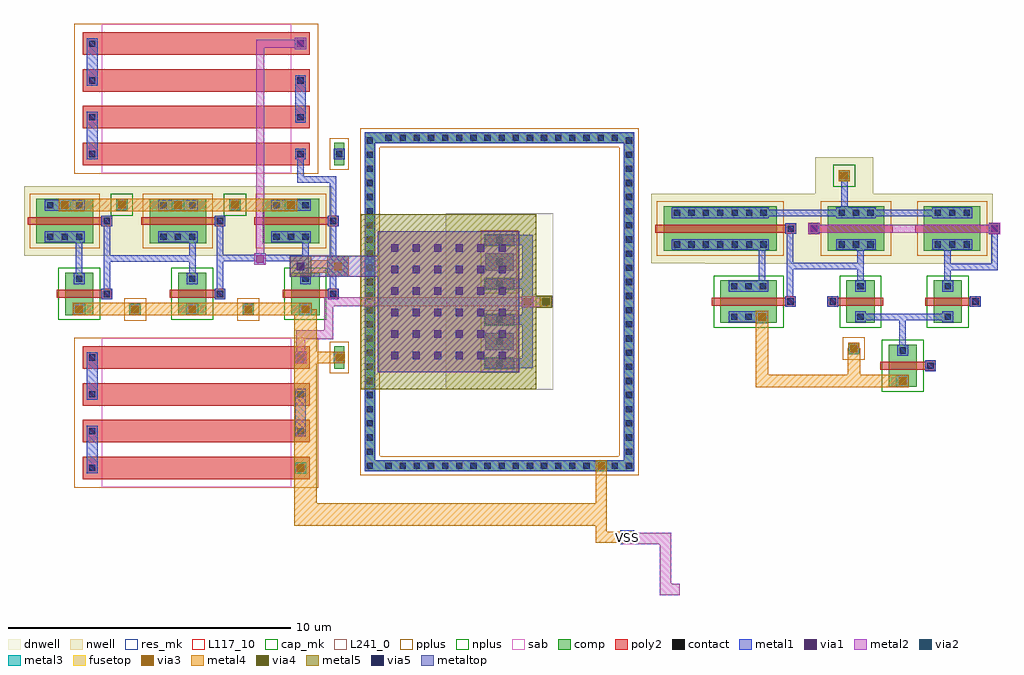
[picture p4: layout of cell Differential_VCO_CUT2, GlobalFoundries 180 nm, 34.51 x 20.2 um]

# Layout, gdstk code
from math import pi, radians
import gdstk
lib = gdstk.Library(unit=1e-6, precision=1e-09)
def R(c, l, rs):  # rectangles x0, y0, x1, y1
    for r in rs: c.add(gdstk.rectangle(r[:2], r[2:], *l))
def A(c, l, x, y, w, h, nx, ny, dx, dy):  # array of equal rectangles
    R(c, l, [(x+i*dx, y+j*dy, x+i*dx+w, y+j*dy+h) for i in range(nx) for j in range(ny)])
def P(c, l, *ps):  # polygons
    for p in ps: c.add(gdstk.Polygon(p, *l))
dnwell = (12, 0)
nwell = (21, 0)
comp = (22, 0)
poly2 = (30, 0)
pplus = (31, 0)
nplus = (32, 0)
contact = (33, 0)
metal1 = (34, 0)
via1 = (35, 0)
metal2 = (36, 0)
via2 = (38, 0)
via3 = (40, 0)
via4 = (41, 0)
metal3 = (42, 0)
metal4 = (46, 0)
sab = (49, 0)
metaltop = (53, 0)
fusetop = (75, 0)
metal5 = (81, 0)
via5 = (82, 0)
res_mk = (110, 5)
cap_mk = (117, 5)
L117_10 = (117, 10)
L241_0 = (241, 0)

schottky_pair_shared_dnw = lib.new_cell('Schottky_Pair_Shared_DNW')
R(schottky_pair_shared_dnw, dnwell, [(-0.76,-1.4,5.48,2.4)])
R(schottky_pair_shared_dnw, comp, [(0,0,0.36,1), (0.64,0,1.26,1), (1.54,0,1.9,1), (2.82,0,3.18,1), (3.46,0,4.08,1), (4.36,0,4.72,1)])
P(schottky_pair_shared_dnw, comp, [(-3.62,-4.26),(-3.62,4.9),(-3.26,4.9),(-3.26,-3.9),(7.98,-3.9),(7.98,4.9),(-3.62,4.9),(-3.62,5.26),(8.34,5.26),(8.34,-4.26)])
P(schottky_pair_shared_dnw, pplus, [(-3.78,-4.42),(-3.78,4.74),(-3.1,4.74),(-3.1,-3.74),(7.82,-3.74),(7.82,4.74),(-3.78,4.74),(-3.78,5.42),(8.5,5.42),(8.5,-4.42)])
R(schottky_pair_shared_dnw, nplus, [(-0.03,-0.03,0.39,1.03), (1.51,-0.03,1.93,1.03), (2.79,-0.03,3.21,1.03), (4.33,-0.03,4.75,1.03)])
A(schottky_pair_shared_dnw, contact, -3.55, -4.19, 0.22, 0.22, 24, 2, 0.5, 9.16)
A(schottky_pair_shared_dnw, contact, -3.55, -3.69, 0.22, 0.22, 1, 17, 0, 0.5)
A(schottky_pair_shared_dnw, contact, 8.05, -3.69, 0.22, 0.22, 1, 17, 0, 0.5)
A(schottky_pair_shared_dnw, contact, 0.07, 0.39, 0.22, 0.22, 3, 1, 0.77, 0)
A(schottky_pair_shared_dnw, contact, 2.89, 0.39, 0.22, 0.22, 3, 1, 0.77, 0)
R(schottky_pair_shared_dnw, metal1, [(0,-0.67,0.36,1), (0,-0.67,4.72,-0.31), (1.54,-0.67,1.9,1), (2.82,-0.67,3.18,1), (4.36,-0.67,4.72,1), (0.64,0,1.26,1), (3.46,0,4.08,1)])
P(schottky_pair_shared_dnw, metal1, [(-3.63,-4.27),(-3.63,4.89),(-3.25,4.89),(-3.25,-3.89),(7.97,-3.89),(7.97,4.89),(-3.63,4.89),(-3.63,5.27),(8.35,5.27),(8.35,-4.27)])
R(schottky_pair_shared_dnw, L241_0, [(-0.16,-0.16,2.06,1.16), (2.66,-0.16,4.88,1.16)])

pfet_1 = lib.new_cell('pfet$1')
R(pfet_1, nwell, [(-0.9,-0.44,1.56,2.44)])
R(pfet_1, comp, [(-0.46,0,0,2), (0,0,0.66,2), (0.66,0,1.12,2)])
R(pfet_1, poly2, [(0.19,-0.3,0.47,2.3), (0.14,2.3,0.52,2.68)])
R(pfet_1, pplus, [(-0.63,-0.24,1.29,2.24)])
A(pfet_1, contact, -0.34, 0.38, 0.22, 0.22, 1, 3, 0, 0.51)
A(pfet_1, contact, 0.78, 0.38, 0.22, 0.22, 1, 3, 0, 0.51)
R(pfet_1, contact, [(0.22,2.38,0.44,2.6)])
R(pfet_1, metal1, [(-0.42,0.3,-0.04,1.7), (0.7,0.3,1.08,1.7), (0.14,2.299,0.52,2.681)])

nfet_2 = lib.new_cell('nfet$2')
R(nfet_2, comp, [(-0.42,0,0,1), (0,0,0.66,1), (0.66,0,1.08,1)])
R(nfet_2, poly2, [(0.19,-0.3,0.47,1.3), (0.15,1.3,0.51,1.66)])
R(nfet_2, nplus, [(-0.59,-0.24,1.25,1.24)])
R(nfet_2, contact, [(-0.32,0.39,-0.1,0.61), (0.76,0.39,0.98,0.61), (0.22,1.37,0.44,1.59)])
R(nfet_2, metal1, [(-0.4,0.309,-0.02,0.691), (0.68,0.309,1.06,0.691), (0.14,1.289,0.52,1.671)])

inverter_buffer = lib.new_cell('Inverter_Buffer')
inverter_buffer.add(gdstk.FlexPath([(-1.48,-1),(-1.48,1.58)], 0.23, ends="flush", simple_path=True, layer=34, datatype=0))  # metal1
inverter_buffer.add(gdstk.FlexPath([(-0.5,-0.46),(-0.5,1.02)], 0.23, ends="flush", simple_path=True, layer=34, datatype=0))  # metal1
inverter_buffer.add(gdstk.Reference(pfet_1, (1.01,1.25), rotation=pi/2))
inverter_buffer.add(gdstk.Reference(nfet_2, (0,-1.33), rotation=pi/2))

cap_mim = lib.new_cell('cap_mim')
R(cap_mim, metaltop, [(0,0,5,5)])
R(cap_mim, fusetop, [(0,0,5,5)])
R(cap_mim, metal5, [(-0.6,-0.6,5.6,5.6)])
A(cap_mim, via5, 0.47, 0.47, 0.26, 0.26, 6, 6, 0.76, 0.76)
R(cap_mim, cap_mk, [(-0.6,-0.6,5.6,5.6)])
R(cap_mim, L117_10, [(0,0,5,0.1)])

mim_cap = lib.new_cell('MIM_Cap')
mim_cap.add(gdstk.Reference(cap_mim, (-2.48,-2.55)))

via_dev_10 = lib.new_cell('via_dev$10')
R(via_dev_10, metal1, [(0,0,0.44,0.44)])
R(via_dev_10, via1, [(0.09,0.09,0.35,0.35)])
R(via_dev_10, metal2, [(0,0,0.44,0.44)])
R(via_dev_10, via2, [(0.09,0.09,0.35,0.35)])
R(via_dev_10, via3, [(0.09,0.09,0.35,0.35)])
R(via_dev_10, metal3, [(0,0,0.44,0.44)])
R(via_dev_10, metal4, [(0,0,0.44,0.44)])

via_dev_8 = lib.new_cell('via_dev$8')
R(via_dev_8, comp, [(0,0,0.4,0.4)])
R(via_dev_8, contact, [(0.09,0.09,0.31,0.31)])
R(via_dev_8, metal1, [(0,0,0.4,0.4)])
R(via_dev_8, via1, [(0.07,0.07,0.33,0.33)])
R(via_dev_8, metal2, [(0,0,0.4,0.4)])
R(via_dev_8, via2, [(0.07,0.07,0.33,0.33)])
R(via_dev_8, via3, [(0.07,0.07,0.33,0.33)])
R(via_dev_8, metal3, [(0,0,0.4,0.4)])
R(via_dev_8, metal4, [(0,0,0.4,0.4)])

n_well_body_tap = lib.new_cell('N_Well_Body_Tap')
R(n_well_body_tap, nplus, [(-0.39,-0.39,0.39,0.39)])
n_well_body_tap.add(gdstk.Reference(via_dev_8, (-0.2,0.2), x_reflection=True))

p_substrate_body_tap = lib.new_cell('P_Substrate_Body_Tap')
R(p_substrate_body_tap, pplus, [(-0.39,-0.39,0.39,0.39)])
p_substrate_body_tap.add(gdstk.Reference(via_dev_8, (-0.2,0.2), x_reflection=True))

nfet_4 = lib.new_cell('nfet$4')
R(nfet_4, comp, [(-0.42,0,0,2), (0,0,0.66,2), (0.66,0,1.08,2)])
R(nfet_4, poly2, [(0.19,-0.3,0.47,2.3), (0.15,2.3,0.51,2.66)])
R(nfet_4, nplus, [(-0.59,-0.24,1.25,2.24)])
A(nfet_4, contact, -0.32, 0.38, 0.22, 0.22, 1, 3, 0, 0.51)
A(nfet_4, contact, 0.76, 0.38, 0.22, 0.22, 1, 3, 0, 0.51)
R(nfet_4, contact, [(0.22,2.37,0.44,2.59)])
R(nfet_4, metal1, [(-0.4,0.3,-0.02,1.7), (0.68,0.3,1.06,1.7), (0.14,2.289,0.52,2.671)])

pfet_2 = lib.new_cell('pfet$2')
R(pfet_2, nwell, [(-0.9,-0.44,1.56,4.44)])
R(pfet_2, comp, [(-0.46,0,0,4), (0,0,0.66,4), (0.66,0,1.12,4)])
R(pfet_2, poly2, [(0.19,-0.3,0.47,4.3), (0.14,4.3,0.52,4.68)])
R(pfet_2, pplus, [(-0.63,-0.24,1.29,4.24)])
A(pfet_2, contact, -0.34, 0.36, 0.22, 0.22, 1, 7, 0, 0.51)
A(pfet_2, contact, 0.78, 0.36, 0.22, 0.22, 1, 7, 0, 0.51)
R(pfet_2, contact, [(0.22,4.38,0.44,4.6)])
R(pfet_2, metal1, [(-0.42,0.28,-0.04,3.72), (0.7,0.28,1.08,3.72), (0.14,4.299,0.52,4.681)])

differential_buffer = lib.new_cell('Differential_Buffer')
R(differential_buffer, via1, [(3.06,3,3.32,3.26), (-3.32,3.005,-3.06,3.265)])
R(differential_buffer, metal2, [(-3.39,2.93,-2.99,3.33), (2.99,2.93,3.39,3.33)])
differential_buffer.add(gdstk.FlexPath([(1.54,1.81),(4.155,1.81)], 0.23, ends="flush", simple_path=True, layer=34, datatype=0))  # metal1
differential_buffer.add(gdstk.FlexPath([(5.02,1.09),(5.02,2.57)], 0.23, ends="flush", simple_path=True, layer=34, datatype=0))  # metal1
differential_buffer.add(gdstk.FlexPath([(-1.54,1.09),(-1.54,2.57)], 0.23, ends="flush", simple_path=True, layer=34, datatype=0))  # metal1
differential_buffer.add(gdstk.FlexPath([(1.54,1.09),(1.54,2.57)], 0.23, ends="flush", simple_path=True, layer=34, datatype=0))  # metal1
differential_buffer.add(gdstk.FlexPath([(0.05,-1.18),(0.05,0.01),(-1.54,0.01),(-1.54,0.01)], 0.23, ends="flush", simple_path=True, layer=34, datatype=0))  # metal1
differential_buffer.add(gdstk.FlexPath([(0.05,0.01),(1.54,0.01)], 0.23, ends="flush", simple_path=True, layer=34, datatype=0))  # metal1
differential_buffer.add(gdstk.FlexPath([(-1.7,3.69),(1.7,3.69)], 0.23, ends="flush", simple_path=True, layer=34, datatype=0))  # metal1
differential_buffer.add(gdstk.FlexPath([(-3.19,3.13),(-3.19,1.78),(-1.54,1.78)], 0.23, ends="flush", simple_path=True, layer=34, datatype=0))  # metal1
differential_buffer.add(gdstk.FlexPath([(4.04,0.55),(4.04,3.13)], 0.23, ends="flush", simple_path=True, layer=34, datatype=0))  # metal1
differential_buffer.add(gdstk.FlexPath([(3.14,3.13),(-3.19,3.13)], 0.28, ends="flush", simple_path=True, layer=36, datatype=0))  # metal2
differential_buffer.add(gdstk.Reference(pfet_1, (-0.7,2.8), rotation=pi/2))
differential_buffer.add(gdstk.Reference(pfet_1, (0.7,2.8), rotation=pi/2, x_reflection=True))
differential_buffer.add(gdstk.Reference(nfet_2, (-1.04,0.22), rotation=pi/2))
differential_buffer.add(gdstk.Reference(nfet_2, (1.04,0.22), rotation=pi/2, x_reflection=True))
differential_buffer.add(gdstk.Reference(nfet_2, (0.55,-2.05), rotation=pi/2))
differential_buffer.add(gdstk.Reference(nfet_4, (6.5,0.22), rotation=pi/2))
differential_buffer.add(gdstk.Reference(pfet_2, (8.5,2.8), rotation=pi/2))

ppoly_folded_4_leg = lib.new_cell('PPOLY_FOLDED_4_LEG')
R(ppoly_folded_4_leg, comp, [(-1.88,-0.4,-1.52,0.4)])
A(ppoly_folded_4_leg, poly2, -0.66, -0.4, 8.025, 0.8, 1, 4, 0, 1.3)
R(ppoly_folded_4_leg, pplus, [(-0.96,-0.7,7.665,4.6), (-2.04,-0.56,-1.36,0.56)])
A(ppoly_folded_4_leg, contact, -0.44, -0.11, 0.22, 0.22, 1, 4, 0, 1.3)
A(ppoly_folded_4_leg, contact, 6.925, -0.11, 0.22, 0.22, 1, 4, 0, 1.3)
R(ppoly_folded_4_leg, contact, [(-1.81,-0.11,-1.59,0.11)])
A(ppoly_folded_4_leg, metal1, -0.52, -0.19, 0.38, 0.38, 1, 4, 0, 1.3)
A(ppoly_folded_4_leg, metal1, 6.845, -0.19, 0.38, 0.38, 1, 4, 0, 1.3)
R(ppoly_folded_4_leg, metal1, [(-1.89,-0.19,-1.51,0.19), (6.845,-0.18,7.225,1.48), (-0.52,1.12,-0.14,2.78), (6.845,2.42,7.225,4.08)])
R(ppoly_folded_4_leg, sab, [(0,-0.68,6.705,4.58)])
A(ppoly_folded_4_leg, res_mk, 0, -0.4, 6.705, 0.8, 1, 4, 0, 1.3)
ppoly_folded_4_leg.add(gdstk.Label('P', (-0.33,0), layer=34, texttype=10))
ppoly_folded_4_leg.add(gdstk.Label('N', (-0.33,3.9), layer=34, texttype=10))
ppoly_folded_4_leg.add(gdstk.Label('B', (-1.7,0), layer=34, texttype=10))

via_dev_3 = lib.new_cell('via_dev$3')
R(via_dev_3, metal1, [(0,0,0.4,0.4)])
R(via_dev_3, via1, [(0.07,0.07,0.33,0.33)])
R(via_dev_3, metal2, [(0,0,0.4,0.4)])

differential_vco_cut2 = lib.new_cell('Differential_VCO_CUT2')
R(differential_vco_cut2, nwell, [(-25.04,5.6,-18.56,8.06)])
P(differential_vco_cut2, nwell, [(-2.7,5.325),(-2.7,7.79),(1.2,7.79),(1.2,9.08),(3.25,9.08),(3.25,7.79),(7.415,7.79),(7.415,5.325)])
R(differential_vco_cut2, metal1, [(-5.7,-4.6,-5.2,-4.1), (-17.2,-2.1,-16.8,-1.7), (-6.57,-2.025,-6.17,-1.625), (-17.2,1.8,-16.8,2.2), (-15.83,1.8,-15.43,2.2), (-9.18,3.775,-8.78,4.175), (-16.05,4.85,-15.3,5.6), (-23.85,5.395,-20.83,5.625), (-19.965,5.405,-16.83,5.635)])
P(differential_vco_cut2, metal1, [(-1.26,7.005),(-1.26,7.235),(2.125,7.235),(2.125,8.43),(2.355,8.43),(2.355,7.235),(2.53,7.235),(2.53,7.005)],
  [(-15.965,6.83),(-15.965,8.175),(-17.115,8.175),(-17.115,9.2),(-16.885,9.2),(-16.885,8.405),(-15.735,8.405),(-15.735,6.83)])
R(differential_vco_cut2, via1, [(-5.58,-4.48,-5.32,-4.22), (-17.13,-2.03,-16.87,-1.77), (-6.5,-1.955,-6.24,-1.695), (-17.13,1.87,-16.87,2.13), (-15.76,1.87,-15.5,2.13), (-9.11,3.845,-8.85,4.105), (-15.805,5.095,-15.545,5.355)])
R(differential_vco_cut2, metal2, [(-17.2,-2.1,-16.8,-1.7), (-6.57,-2.025,-6.17,-1.625), (-15.83,1.8,-15.43,2.2), (-16.05,4.85,-15.3,5.6)])
P(differential_vco_cut2, metal2, [(-4.3,-6.4),(-4.3,-4.6),(-5.6,-4.6),(-5.6,-4.55),(-5.65,-4.55),(-5.65,-4.15),(-5.25,-4.15),(-5.25,-4.2),(-3.9,-4.2),(-3.9,-6),(-3.6,-6),(-3.6,-6.4)],
  [(-17.2,1.8),(-17.2,2.2),(-17.16,2.2),(-17.16,2.96),(-16.16,2.96),(-16.16,4.135),(-9.18,4.135),(-9.18,4.175),(-8.54,4.175),(-8.54,4.195),(-8.1,4.195),(-8.1,3.755),(-8.54,3.755),(-8.54,3.775),(-9.18,3.775),(-9.18,3.815),(-15.84,3.815),(-15.84,2.64),(-16.84,2.64),(-16.84,2.2),(-16.8,2.2),(-16.8,1.8)],
  [(-18.57,5.46),(-18.57,13.24),(-17,13.24),(-17,12.96),(-18.29,12.96),(-18.29,5.46)])
R(differential_vco_cut2, via2, [(-5.58,-4.48,-5.32,-4.22), (-17.13,-2.03,-16.87,-1.77), (-6.5,-1.955,-6.24,-1.695), (-15.76,1.87,-15.5,2.13), (-8.45,3.845,-8.19,4.105), (-15.805,5.095,-15.545,5.355)])
R(differential_vco_cut2, via3, [(-5.58,-4.48,-5.32,-4.22), (-17.13,-2.03,-16.87,-1.77), (-6.5,-1.955,-6.24,-1.695), (-15.76,1.87,-15.5,2.13), (-8.45,3.845,-8.19,4.105), (-15.805,5.095,-15.545,5.355)])
R(differential_vco_cut2, via4, [(-8.45,3.845,-8.19,4.105), (-17.135,5.095,-16.875,5.355)])
R(differential_vco_cut2, metal3, [(-5.65,-4.55,-5.25,-4.15), (-17.2,-2.1,-16.8,-1.7), (-6.57,-2.025,-6.17,-1.625), (-15.83,1.8,-15.43,2.2), (-8.54,3.755,-8.1,4.195), (-16.05,4.85,-15.3,5.6)])
R(differential_vco_cut2, metal4, [(-8.54,3.755,-8.1,4.195), (-25.34,7.17,-17.34,7.61)])
P(differential_vco_cut2, metal4, [(-0.9,0.95),(-0.9,3.63),(-0.46,3.63),(-0.46,1.39),(2.34,1.39),(2.34,2.325),(2.78,2.325),(2.78,1.39),(4.29,1.39),(4.29,0.95)],
  [(-6.57,-4.55),(-6.57,-3.95),(-17.23,-3.95),(-17.23,3.49),(-25.021,3.49),(-25.021,3.93),(-16.83,3.93),(-16.83,3.71),(-16.43,3.71),(-16.43,2.2),(-15.43,2.2),(-15.43,1.8),(-16.43,1.8),(-16.43,-3.15),(-6.57,-3.15),(-6.57,-1.625),(-6.17,-1.625),(-6.17,-4.15),(-5.25,-4.15),(-5.25,-4.55)],
  [(-17.38,4.85),(-17.38,5.6),(-16.63,5.6),(-16.63,5.445),(-16.05,5.445),(-16.05,5.6),(-15.3,5.6),(-15.3,4.85),(-16.05,4.85),(-16.05,5.005),(-16.63,5.005),(-16.63,4.85)])
R(differential_vco_cut2, metaltop, [(-17.38,4.85,-16.63,5.6), (-17.005,4.85,-13.52,5.6)])
R(differential_vco_cut2, metal5, [(-8.84,3.755,-8.1,4.195), (-17.38,4.85,-16.63,5.6)])
R(differential_vco_cut2, via5, [(-17.135,5.095,-16.875,5.355)])
differential_vco_cut2.add(gdstk.Reference(schottky_pair_shared_dnw, (-9.47,1.615), rotation=pi/2))
r = gdstk.Reference(inverter_buffer, (-17.33,5.25), rotation=pi, x_reflection=True); r.repetition = gdstk.Repetition(3, 1, v1=(-4,0), v2=(0,0)); differential_vco_cut2.add(r)
differential_vco_cut2.add(gdstk.Reference(mim_cap, (-11.82,3.995), rotation=3*pi/2, x_reflection=True))
differential_vco_cut2.add(gdstk.Reference(via_dev_10, (-25.05,3.93), x_reflection=True))
differential_vco_cut2.add(gdstk.Reference(via_dev_10, (-21.05,3.93), x_reflection=True))
differential_vco_cut2.add(gdstk.Reference(via_dev_10, (-17.05,3.93), x_reflection=True))
differential_vco_cut2.add(gdstk.Reference(via_dev_10, (-25.56,7.61), x_reflection=True))
differential_vco_cut2.add(gdstk.Reference(via_dev_10, (-21.56,7.61), x_reflection=True))
differential_vco_cut2.add(gdstk.Reference(via_dev_10, (-17.56,7.61), x_reflection=True))
r = gdstk.Reference(n_well_body_tap, (-23.32,7.41), x_reflection=True); r.repetition = gdstk.Repetition(2, 1, v1=(4,0), v2=(0,0)); differential_vco_cut2.add(r)
r = gdstk.Reference(p_substrate_body_tap, (-22.85,3.7), x_reflection=True); r.repetition = gdstk.Repetition(2, 1, v1=(4,0), v2=(0,0)); differential_vco_cut2.add(r)
differential_vco_cut2.add(gdstk.Reference(differential_buffer, (4.34,3.43), rotation=pi, x_reflection=True))
differential_vco_cut2.add(gdstk.Reference(ppoly_folded_4_leg, (-17.33,9.2), rotation=pi, x_reflection=True))
differential_vco_cut2.add(gdstk.Reference(ppoly_folded_4_leg, (-17.33,2), rotation=pi))
differential_vco_cut2.add(gdstk.Reference(via_dev_3, (-17.2,12.9)))
differential_vco_cut2.add(gdstk.Reference(via_dev_3, (-18.63,5.29)))
differential_vco_cut2.add(gdstk.Reference(via_dev_10, (-0.9,3.22)))
differential_vco_cut2.add(gdstk.Reference(via_dev_10, (4.07,0.95)))
differential_vco_cut2.add(gdstk.Reference(n_well_body_tap, (2.22,8.43)))
differential_vco_cut2.add(gdstk.Reference(p_substrate_body_tap, (2.56,2.32)))
differential_vco_cut2.add(gdstk.Label('VSS', (-5.45,-4.35), layer=34, texttype=10))

lib.write_gds('Differential_VCO_CUT2.gds')
